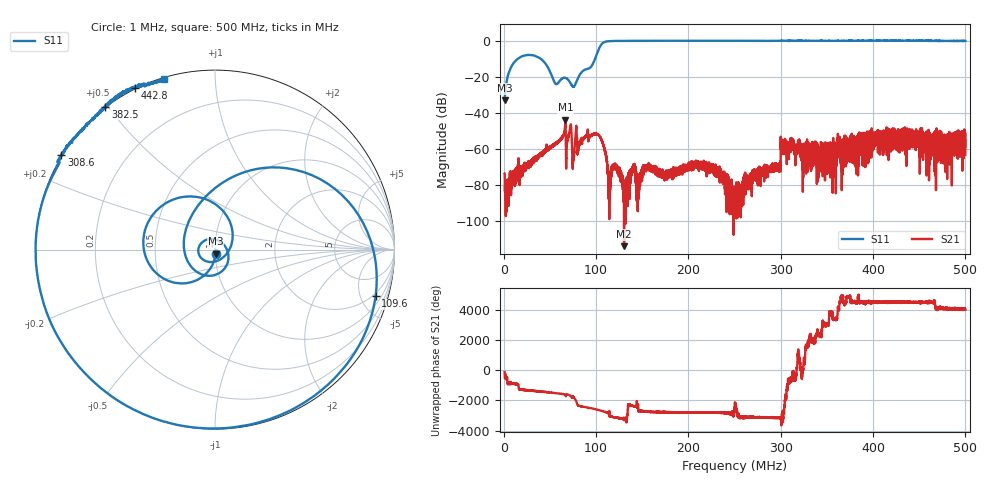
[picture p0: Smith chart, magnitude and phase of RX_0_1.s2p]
! NanoVNA-App
! Date: 2026-08-26 21:51:53
! Start: 1MHz Stop: 500MHz Points: 6401
! S-Parameter data: F S11 S21 S12 S22
# Hz S RI R 50
!  Frequency  S11_Real  S11_Imag  S21_Real  S21_Imag  S12_Real  S12_Imag  S22_Real  S22_Imag
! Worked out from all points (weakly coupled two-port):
!   6401 points, 1 MHz to 500 MHz, reference 50 ohm
!   highest |S21| = -43.89 dB at 66.88 MHz (marker M1); lowest = -114.3 dB at 130.4 MHz (marker M2)
!   lowest |S11| = -33.1 dB at 1 MHz (marker M3), VSWR 1.05, Z = 50.2 - j2.2 ohm
!   |S11| at or under -10 dB: start of sweep to 15.29 MHz; 40 MHz to 99.02 MHz (59.02 MHz wide, 84.9 % of centre)
!   S12 and S22 are empty: the file has one direction only
!   S11 on the Smith chart (normalised r, x): 1 MHz: 1.00, -0.04; 109.6 MHz: 1.67, -6.60; 308.6 MHz: -0.00, +0.28; 382.5 MHz: -0.00, +0.49; 442.8 MHz: -0.00, +0.62; 500 MHz: 0.00, +0.75
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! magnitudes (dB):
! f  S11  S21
! 1 MHz  -33.1  -73.8
! 8.329 MHz  -14.4  -78.1
! 22.44 MHz  -8.2  -69.9
! 66.88 MHz  -20.6  -43.9
! 84.19 MHz  -17.6  -54.4
! 101.4 MHz  -6.7  -51.9
! 109.6 MHz  -0.6  -60.8
! 114.2 MHz  -0.2  -83.9
! 120.5 MHz  -0.1  -69.3
! 130.4 MHz  0.0  -114.3
! 140.3 MHz  0.0  -72.1
! 167.4 MHz  0.0  -73.6
! 215.8 MHz  0.0  -70.1
! 250.5 MHz  0.0  -86.2
! 297.4 MHz  -0.1  -71.4
! 302.5 MHz  0.0  -57.2
! 308.6 MHz  0.0  -62.8
! 333.7 MHz  0.0  -59.2
! 382.5 MHz  0.0  -53.3
! 416.9 MHz  0.1  -49.6
! 442.8 MHz  0.1  -59.4
! 500 MHz  0.0  -63.5
